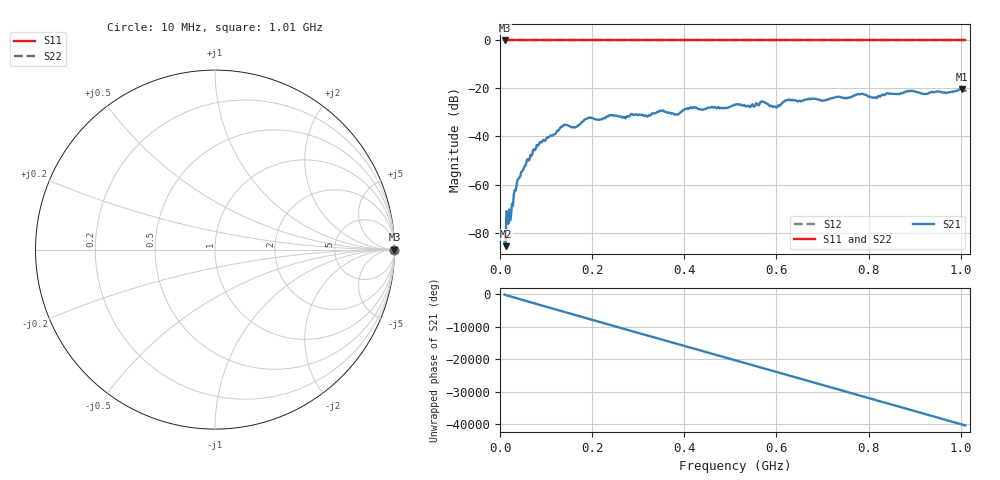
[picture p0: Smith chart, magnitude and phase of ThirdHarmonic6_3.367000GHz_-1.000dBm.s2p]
! 8/17/2025 10:40:14 AM
! C:\ANRITSUVNA\TEMP\TEMP.S2P
! CHANNEL.1
! TR.MEASUREMENT
! RAW.DATA
! RF.CORRECTION.OFF
! AVERAGING.OFF
! IF.BANDWIDTH: 5KHZ
! SWEEPTYPE:  FREQ.SWEEP(Linear)
! Reference Plane Port Info
! PORT:  PORT1  PORT2
! DISTANCE:  0  m  0  m
! TIME:  0  s  0  s
! PHASE.OFFSET:  0  deg.  0  deg.
! LOSS:  0  dB  0  dB
! REF.LOSS:  0  dB  0  dB
! REF.FREQ:  0  Hz  0  Hz
! Power Info
! POWER:  -20  dBm  -20  dBm
! EFF.POWER:  -20  dBm  -20  dBm
! SOURCE.ATTEN:  0  dB  0  dB
! TEST.ATTEN:  0  dB  0  dB
# GHZ S RI R 50.0
! FREQ.GHZ  S11RE  S11IM  S21RE  S21IM  S12RE  S12IM  S22RE  S22IM
!; PortSelection: Port_12
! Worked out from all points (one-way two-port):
!   501 points, 10 MHz to 1.01 GHz, reference 50 ohm
!   highest |S21| = -20.27 dB at 1.002 GHz (marker M1); lowest = -85.7 dB at 12 MHz (marker M2)
!   lowest |S11| = 0.0 dB at 10 MHz (marker M3)
!   |S11| at or under -10 dB: nowhere
!   |S22| runs from 0.0 to 0.0 dB; largest |S21 - S12| = 1.1
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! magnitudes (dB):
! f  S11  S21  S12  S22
! 10 MHz  0.0  -83.8  0.0  0.0
! 12 MHz  0.0  -85.7  0.0  0.0
! 22 MHz  0.0  -75.0  0.0  0.0
! 34 MHz  0.0  -62.6  0.0  0.0
! 42 MHz  0.0  -57.2  0.0  0.0
! 76 MHz  0.0  -45.7  0.0  0.0
! 136 MHz  0.0  -35.6  0.0  0.0
! 164 MHz  0.0  -36.2  0.0  0.0
! 178 MHz  0.0  -33.9  0.0  0.0
! 194 MHz  0.0  -32.1  0.0  0.0
! 322 MHz  0.0  -31.3  0.0  0.0
! 344 MHz  0.0  -29.8  0.0  0.0
! 384 MHz  0.0  -30.7  0.0  0.0
! 416 MHz  0.0  -28.2  0.0  0.0
! 510 MHz  0.0  -26.7  0.0  0.0
! 570 MHz  0.0  -25.5  0.0  0.0
! 596 MHz  0.0  -27.4  0.0  0.0
! 624 MHz  0.0  -24.7  0.0  0.0
! 678 MHz  0.0  -24.3  0.0  0.0
! 844 MHz  0.0  -22.2  0.0  0.0
! 1.002 GHz  0.0  -20.3  0.0  0.0
! 1.01 GHz  0.0  -21.0  0.0  0.0
